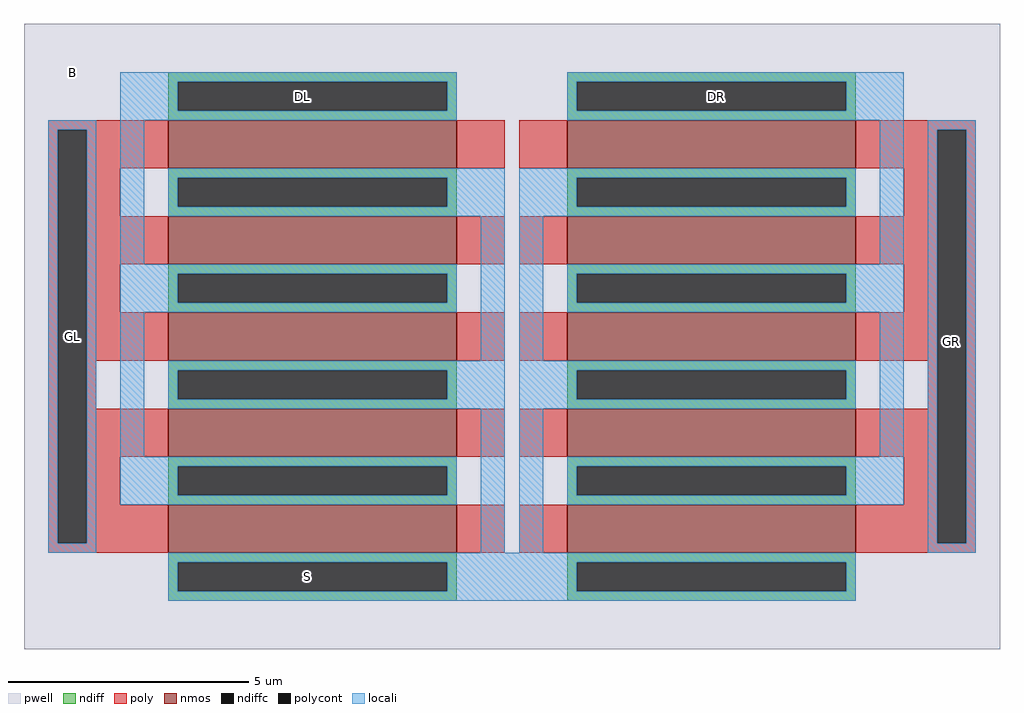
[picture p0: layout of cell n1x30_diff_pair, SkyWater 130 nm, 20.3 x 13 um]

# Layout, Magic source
magic
tech sky130A
<< pwell >>
rect 240 -1020 450 -920
<< locali >>
rect 240 -1020 450 -920
use n1x30  n1x30_0
transform 1 0 -180 0 1 -120
box -500 -1000 600 300
use n1x30  n1x30_2
transform -1 0 850 0 1 -120
box -500 -1000 600 300
<< labels >>
flabel space -100 30 -100 30 0 FreeSans 800 0 0 0 DL
port 0 nsew
flabel space 760 30 760 30 0 FreeSans 800 0 0 0 DR
port 1 nsew
flabel space -580 -470 -580 -470 0 FreeSans 800 0 0 0 GL
port 2 nsew
flabel space 1250 -480 1250 -480 0 FreeSans 800 0 0 0 GR
port 3 nsew
flabel space -90 -970 -90 -970 0 FreeSans 800 0 0 0 S
port 4 nsew
flabel space -580 80 -580 80 0 FreeSans 800 0 0 0 B
port 5 nsew
<< end >>

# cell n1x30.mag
magic
tech sky130A
<< pwell >>
rect -500 -1000 600 300
<< nmos >>
rect -200 0 400 100
rect -200 -200 400 -100
rect -200 -400 400 -300
rect -200 -600 400 -500
rect -200 -800 400 -700
<< ndiff >>
rect -200 180 400 200
rect -200 120 -180 180
rect 380 120 400 180
rect -200 100 400 120
rect -200 -20 400 0
rect -200 -80 -180 -20
rect 380 -80 400 -20
rect -200 -100 400 -80
rect -200 -220 400 -200
rect -200 -280 -180 -220
rect 380 -280 400 -220
rect -200 -300 400 -280
rect -200 -420 400 -400
rect -200 -480 -180 -420
rect 380 -480 400 -420
rect -200 -500 400 -480
rect -200 -620 400 -600
rect -200 -680 -180 -620
rect 380 -680 400 -620
rect -200 -700 400 -680
rect -200 -820 400 -800
rect -200 -880 -180 -820
rect 380 -880 400 -820
rect -200 -900 400 -880
<< ndiffc >>
rect -180 120 380 180
rect -180 -80 380 -20
rect -180 -280 380 -220
rect -180 -480 380 -420
rect -180 -680 380 -620
rect -180 -880 380 -820
<< poly >>
rect -450 80 -200 100
rect -450 -780 -430 80
rect -370 0 -200 80
rect 400 0 500 100
rect -370 -100 -300 0
rect -370 -200 -200 -100
rect 400 -200 500 -100
rect -370 -300 -300 -200
rect -370 -400 -200 -300
rect 400 -400 500 -300
rect -370 -500 -350 -400
rect -370 -600 -200 -500
rect 400 -600 500 -500
rect -370 -700 -300 -600
rect -370 -780 -200 -700
rect -450 -800 -200 -780
rect 400 -800 500 -700
<< polycont >>
rect -430 -780 -370 80
<< locali >>
rect -300 180 400 200
rect -300 120 -180 180
rect 380 120 400 180
rect -300 100 400 120
rect -450 80 -350 100
rect -450 -780 -430 80
rect -370 -780 -350 80
rect -300 -200 -250 100
rect -200 -20 500 0
rect -200 -80 -180 -20
rect 380 -80 500 -20
rect -200 -100 500 -80
rect -300 -220 400 -200
rect -300 -280 -180 -220
rect 380 -280 400 -220
rect -300 -300 400 -280
rect -300 -600 -250 -300
rect 450 -400 500 -100
rect -200 -420 500 -400
rect -200 -480 -180 -420
rect 380 -480 500 -420
rect -200 -500 500 -480
rect -300 -620 400 -600
rect -300 -680 -180 -620
rect 380 -680 400 -620
rect -300 -700 400 -680
rect -450 -800 -350 -780
rect 450 -800 500 -500
rect -200 -820 500 -800
rect -200 -880 -180 -820
rect 380 -880 500 -820
rect -200 -900 500 -880
<< labels >>
flabel ndiffc 90 150 90 150 0 FreeSans 800 0 0 0 D
port 0 nsew
flabel polycont -400 -350 -400 -350 0 FreeSans 800 0 0 0 G
port 1 nsew
flabel ndiffc 110 -850 110 -850 0 FreeSans 800 0 0 0 S
port 2 nsew
flabel space -400 210 -400 210 0 FreeSans 800 0 0 0 B
port 3 nsew
<< end >>
